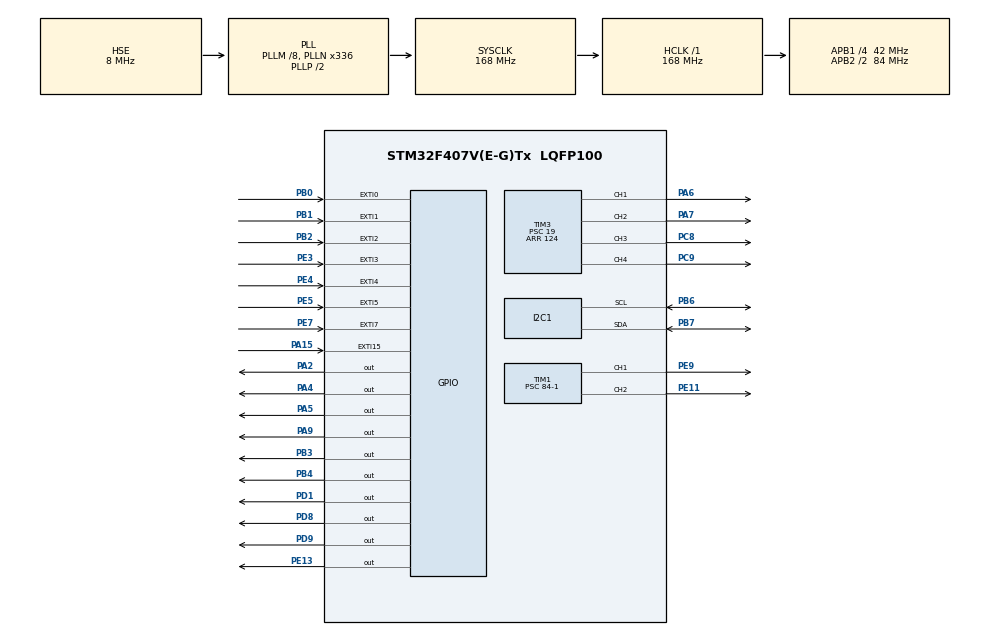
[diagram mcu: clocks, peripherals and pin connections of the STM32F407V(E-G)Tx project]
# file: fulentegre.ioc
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I2C1.OwnAddress=0x20
Mcu.Family=STM32F4
Mcu.Name=STM32F407V(E-G)Tx
Mcu.Package=LQFP100
NVIC.EXTI0_IRQn=true\:0\:0\:false\:false\:true\:true\:true\:true
NVIC.EXTI15_10_IRQn=true\:0\:0\:false\:false\:true\:true\:true\:true
NVIC.EXTI1_IRQn=true\:0\:0\:false\:false\:true\:true\:true\:true
NVIC.EXTI2_IRQn=true\:0\:0\:false\:false\:true\:true\:true\:true
NVIC.EXTI3_IRQn=true\:0\:0\:false\:false\:true\:true\:true\:true
NVIC.EXTI4_IRQn=true\:0\:0\:false\:false\:true\:true\:true\:true
NVIC.EXTI9_5_IRQn=true\:0\:0\:false\:false\:true\:true\:true\:true
NVIC.I2C1_ER_IRQn=true\:0\:0\:false\:false\:true\:true\:true\:true
NVIC.I2C1_EV_IRQn=true\:0\:0\:false\:false\:true\:true\:true\:true
NVIC.PriorityGroup=NVIC_PRIORITYGROUP_0
PA13.Mode=Serial_Wire
PA13.Signal=SYS_JTMS-SWDIO
PA14.Mode=Serial_Wire
PA14.Signal=SYS_JTCK-SWCLK
PA15.GPIO_ModeDefaultEXTI=GPIO_MODE_IT_RISING_FALLING
PA15.GPIO_PuPd=GPIO_PULLUP
PA15.Signal=GPXTI15
PA2.Signal=GPIO_Output
PA4.Signal=GPIO_Output
PA5.Signal=GPIO_Output
PA6.Signal=S_TIM3_CH1
PA7.Signal=S_TIM3_CH2
PA9.Signal=GPIO_Output
PB0.GPIO_ModeDefaultEXTI=GPIO_MODE_IT_RISING_FALLING
PB0.GPIO_PuPd=GPIO_PULLUP
PB0.Signal=GPXTI0
PB1.Signal=GPXTI1
PB2.GPIO_ModeDefaultEXTI=GPIO_MODE_IT_RISING_FALLING
PB2.GPIO_PuPd=GPIO_PULLUP
PB2.Signal=GPXTI2
PB3.Signal=GPIO_Output
PB4.Signal=GPIO_Output
PB6.Mode=I2C
PB6.Signal=I2C1_SCL
PB7.Mode=I2C
PB7.Signal=I2C1_SDA
PC8.Signal=S_TIM3_CH3
PC9.Signal=S_TIM3_CH4
PD1.Signal=GPIO_Output
PD8.Signal=GPIO_Output
PD9.Signal=GPIO_Output
PE11.Signal=S_TIM1_CH2
PE13.Signal=GPIO_Output
PE3.GPIO_ModeDefaultEXTI=GPIO_MODE_IT_RISING_FALLING
PE3.GPIO_PuPd=GPIO_NOPULL
PE3.Signal=GPXTI3
PE4.GPIO_ModeDefaultEXTI=GPIO_MODE_IT_RISING_FALLING
PE4.GPIO_PuPd=GPIO_PULLUP
PE4.Signal=GPXTI4
PE5.GPIO_ModeDefaultEXTI=GPIO_MODE_IT_RISING_FALLING
PE5.Signal=GPXTI5
PE7.GPIO_ModeDefaultEXTI=GPIO_MODE_IT_RISING_FALLING
PE7.Signal=GPXTI7
PE9.Signal=S_TIM1_CH1
PH0-OSC_IN.Mode=HSE-External-Oscillator
PH0-OSC_IN.Signal=RCC_OSC_IN
PH1-OSC_OUT.Mode=HSE-External-Oscillator
PH1-OSC_OUT.Signal=RCC_OSC_OUT
ProjectManager.HeapSize=0x200
ProjectManager.StackSize=0x400
ProjectManager.TargetToolchain=STM32CubeIDE
RCC.48MHZClocksFreq_Value=48000000
RCC.AHBFreq_Value=168000000
RCC.APB1CLKDivider=RCC_HCLK_DIV4
RCC.APB1Freq_Value=42000000
RCC.APB1TimFreq_Value=84000000
RCC.APB2CLKDivider=RCC_HCLK_DIV2
RCC.APB2Freq_Value=84000000
RCC.APB2TimFreq_Value=168000000
RCC.CortexFreq_Value=168000000
RCC.HCLKFreq_Value=168000000
RCC.HSE_VALUE=8000000
RCC.HSI_VALUE=16000000
RCC.LSE_VALUE=32768
RCC.PLLM=8
RCC.PLLN=336
RCC.PLLQ=7
RCC.PLLSourceVirtual=RCC_PLLSOURCE_HSE
RCC.SYSCLKFreq_VALUE=168000000
RCC.SYSCLKSource=RCC_SYSCLKSOURCE_PLLCLK
RCC.VCOOutputFreq_Value=336000000
SH.S_TIM1_CH1.0=TIM1_CH1,PWM Generation1 CH1
SH.S_TIM1_CH2.0=TIM1_CH2,PWM Generation2 CH2
SH.S_TIM3_CH1.0=TIM3_CH1,PWM Generation1 CH1
SH.S_TIM3_CH2.0=TIM3_CH2,PWM Generation2 CH2
SH.S_TIM3_CH3.0=TIM3_CH3,PWM Generation3 CH3
SH.S_TIM3_CH4.0=TIM3_CH4,PWM Generation4 CH4
TIM1.Channel-PWM\ Generation1\ CH1=TIM_CHANNEL_1
TIM1.Channel-PWM\ Generation2\ CH2=TIM_CHANNEL_2
TIM1.Period=85-1
TIM1.Prescaler=84-1
TIM2.Prescaler=83
TIM3.Channel-PWM\ Generation1\ CH1=TIM_CHANNEL_1
TIM3.Channel-PWM\ Generation2\ CH2=TIM_CHANNEL_2
TIM3.Channel-PWM\ Generation3\ CH3=TIM_CHANNEL_3
TIM3.Channel-PWM\ Generation4\ CH4=TIM_CHANNEL_4
TIM3.Period=124
TIM3.Prescaler=19
TIM4.Prescaler=41999
VP_TIM1_VS_ClockSourceINT.Mode=Internal
VP_TIM2_VS_ClockSourceINT.Mode=Internal
VP_TIM4_VS_ClockSourceINT.Mode=Internal
VP_TIM5_VS_ClockSourceINT.Mode=Internal
board=STM32F407G-DISC1

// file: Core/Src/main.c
/* USER CODE BEGIN Header */
/**
  ******************************************************************************
  * @file           : main.c
  * @brief          : Main program body
  ******************************************************************************
  * @attention
  *
  * Copyright (c) 2024 STMicroelectronics.
  * All rights reserved.
  *
  * This software is licensed under terms that can be found in the LICENSE file
  * in the root directory of this software component.
  * If no LICENSE file comes with this software, it is provided AS-IS.
  *
  ************************************************************************************
  */
/* USER CODE END Header */
#include "main.h"

I2C_HandleTypeDef hi2c1;

TIM_HandleTypeDef htim1;
TIM_HandleTypeDef htim2;
TIM_HandleTypeDef htim3;
TIM_HandleTypeDef htim4;
TIM_HandleTypeDef htim5;

void SystemClock_Config(void);
static void MX_GPIO_Init(void);
static void MX_TIM3_Init(void);
static void MX_TIM2_Init(void);
static void MX_TIM1_Init(void);
static void MX_TIM5_Init(void);
static void MX_TIM4_Init(void);
static void MX_I2C1_Init(void);

/* USER CODE BEGIN 0 */
uint8_t RX_Buffer [32] ;
uint8_t tour=0;
uint32_t Encoder=0;
uint32_t Brake=0;
uint32_t Drive=0;
// ENCODER
volatile int32_t encoder=0;
// direksiyon için kumanda sinyali değişkenleri extı_2
 volatile uint32_t starttime3=0;
 volatile uint32_t endtime3=0;
 volatile float pulsewidth3=0;
 volatile uint32_t count3=0;
 volatile uint32_t pulsewidth_prev=0;

 // proximity 1 extı3
 extern volatile uint32_t falling_detected2;
 // proximity2 extı5
 extern volatile uint16_t falling_detected;

 // TULPAR İÇİN KUMANDA DE�?İ�?KENLERİ
 extern volatile uint32_t starttime1;
 extern volatile uint32_t endtime1;
 extern volatile uint32_t pulsewidth1;
 extern volatile uint32_t count1;
 extern volatile int32_t dutycycle0;
 extern volatile int32_t dutycycle1;
 extern volatile int32_t dutycycle2;
 volatile uint32_t  dutycyclenew1=0;
 volatile uint32_t  dutycyclenew2=0;

 // FREN İÇİN KUMANDA SİNYALİ
 extern volatile uint32_t starttime;
 extern volatile uint32_t endtime;
 extern volatile uint32_t pulsewidth;
 extern volatile uint32_t count;
 extern volatile uint32_t command;
 extern volatile uint32_t signal;

 // pid kontrol değişkenleri
 volatile float ref_aci=0;
 volatile uint32_t t=0;
 volatile uint32_t t_prev=0;
 volatile float motoraci=0;
 volatile float aci1=0;
 volatile uint32_t aci1_prev=0;
 volatile int32_t dt=0;
 volatile int32_t error=0;
 volatile int32_t error_prev=0;
 volatile int32_t inte=0;
 volatile int32_t inte_prev=0;
 int32_t vmax=100;
 int32_t vmin=-100;
 volatile int32_t v=0;
 // tuning parametreleri
 float kp=0.2;
 float kd=0;
 float ki=0.1;
volatile uint32_t counter=0;
volatile uint32_t pompa=0;
uint32_t b=0;
 // BO�?
 volatile int AA=0;
 volatile uint32_t duty=0;
 volatile uint32_t BB=0;
 volatile uint32_t BA=0;
 volatile uint32_t motorhiz=0;

 volatile uint32_t periyot=0, periyot1=0, periyot2=0;
 int sınırpos = 5;
 int sınırneg = -5;
 uint32_t counnt=0,capture_value=0;
 float frequency=0,rpm=0;

 void motor_fonksiyonu()
 {
// 	if(dutycycle0<6298)
// 		{
// 			HAL_GPIO_WritePin(GPIOD, GPIO_PIN_9, ENABLE); //REWERSE
// 			HAL_GPIO_WritePin(GPIOD, GPIO_PIN_8, DISABLE);
// 			__HAL_TIM_SET_COMPARE(&htim3 ,TIM_CHANNEL_1, dutycyclenew1);
// 			counter++;
// 		}
//
// 	if(dutycycle0>6298)
// 		{
// 			HAL_GPIO_WritePin(GPIOD, GPIO_PIN_9, DISABLE); //FORWARD
// 			HAL_GPIO_WritePin(GPIOD, GPIO_PIN_8, ENABLE);
// 			__HAL_TIM_SET_COMPARE(&htim3,TIM_CHANNEL_1, dutycyclenew2);
// 			counter--;
// 		}
// 	if(dutycycle0==6298)
// 	{
// 		HAL_GPIO_WritePin(GPIOD, GPIO_PIN_9, DISABLE); //FORWARD
// 		 HAL_GPIO_WritePin(GPIOD, GPIO_PIN_8, DISABLE);
// 		__HAL_TIM_SET_COMPARE(&htim3,TIM_CHANNEL_1,dutycyclenew1);
//	}

	 if(dutycycle0>6298)
	  		{
	  			HAL_GPIO_WritePin(GPIOD, GPIO_PIN_9, DISABLE); //FORWARD
	  			HAL_GPIO_WritePin(GPIOD, GPIO_PIN_8, ENABLE);
	  			__HAL_TIM_SET_COMPARE(&htim3,TIM_CHANNEL_1, dutycyclenew2);
	  			//__HAL_TIM_SET_COMPARE(&htim3,TIM_CHANNEL_1, Drive);
	  			counter--;
	  		}
	  	else
	  	{
	  		__HAL_TIM_SET_COMPARE(&htim3,TIM_CHANNEL_1, 0);

	  	}
 }
 void motorfonksiyon_pid()
 {
	// direksiyon
// 	ref_aci=-((pulsewidth3-179000)/82)+10;
// 	aci1=encoder*0.12;
// 	motoraci=aci1+720;
// 	t=TIM2->CNT;
// 		  if(t<t_prev)
// 		  {
// 		 	  dt=(4294967295 - t_prev) + t + 1;
// 		  }
// 		 else
// 		  {
// 		 	  dt=t-t_prev;
// 		  }
//
//
// 	error=ref_aci-motoraci;// error hesabı
// 	inte=inte_prev+(dt*(error+error_prev)/2); // hatanın integrali
//
// 		 	// Hatayı sınırlıyoruz ki overflow olmasın
// 		  if (dt != 0)
// 		  {
// 		 	   int32_t max_inte=200;
// 		 	  int32_t min_inte=-200;
//
// 		 	  if(inte>max_inte)
// 		 	  {
// 		 		  inte=max_inte;
//
// 		 	  }
// 		 	  else if(inte<min_inte)
// 		 	  {
// 		 		  inte=min_inte;
//
// 		 	  }
// 		 	}
//
//
//
// 		 	v=(kp*error)+(ki*inte)+(kd*((error-error_prev)/dt)); //PID den çıkan sinyal
//
// 		 	if(v>vmax)
// 		 	{
// 		 		v=vmax;
// 	//	 		inte=inte_prev;
// 		 	}
// 		 	if(v<vmin)
// 		 	{
// 		 		v=vmin;
// 		 	//	inte=inte_prev;
//
// 		 	}
//
// 	 duty=(200*abs(v)/vmax);
// 	if(duty>200)
// 	{
//
// 		duty=200;
// 	}
// 	if(v<0)
// 	{
// 		// sağa dönüş
// 		__HAL_TIM_SET_COMPARE(&htim3,TIM_CHANNEL_3,duty);
// 		__HAL_TIM_SET_COMPARE(&htim3,TIM_CHANNEL_4,0);
//BB=__HAL_TIM_GET_COMPARE(&htim3,TIM_CHANNEL_3);
//BA=__HAL_TIM_GET_COMPARE(&htim3,TIM_CHANNEL_4);
// 	}
// 	else if(v>0)
// 	{
// 		//sola dönüş
// 		__HAL_TIM_SET_COMPARE(&htim3,TIM_CHANNEL_3,0);
// 		__HAL_TIM_SET_COMPARE(&htim3,TIM_CHANNEL_4,duty);
// 		BB=__HAL_TIM_GET_COMPARE(&htim3,TIM_CHANNEL_3);
// 		BA=__HAL_TIM_GET_COMPARE(&htim3,TIM_CHANNEL_4);
//
// 	}
// 	else
// 	{
// 		__HAL_TIM_SET_COMPARE(&htim3,TIM_CHANNEL_3,0);
// 		__HAL_TIM_SET_COMPARE(&htim3,TIM_CHANNEL_4,0);
// 		BB=__HAL_TIM_GET_COMPARE(&htim3,TIM_CHANNEL_3);
// 		BA=__HAL_TIM_GET_COMPARE(&htim3,TIM_CHANNEL_4);
//
// 	}
// 	if(v==50)
// 	 	{
// 	 		periyot1=TIM4->CNT;
//
// 	 	}
// 	else if(v==-50)
// 	{
//
// 		periyot2=TIM4->CNT;
//
// 	}
// 	periyot=(periyot2-periyot1)/2000;
// 	t_prev=t;
// 	inte_prev=inte;
// 	error_prev=error;
//
// 	HAL_Delay(10);

	 	ref_aci=-((pulsewidth3-84000)/69.3)+1333;
		aci1=encoder*0.12;
		motoraci=aci1+720;
		error=ref_aci-motoraci;// error hesabı
		//error=Encoder-motoraci;
		if(error>sınırpos)
		{
			__HAL_TIM_SET_COMPARE(&htim3,TIM_CHANNEL_3,0);
			__HAL_TIM_SET_COMPARE(&htim3,TIM_CHANNEL_4,60);
			sınırpos = 5;
			sınırneg = -5;

		}
		else if(error<sınırneg)
		{

			__HAL_TIM_SET_COMPARE(&htim3,TIM_CHANNEL_3,60);
			__HAL_TIM_SET_COMPARE(&htim3,TIM_CHANNEL_4,0);
			sınırpos = 5;
			sınırneg = -5;
		}
		else
		{
			sınırneg = -10;
			sınırpos = 10;
			__HAL_TIM_SET_COMPARE(&htim3,TIM_CHANNEL_3,0);
			__HAL_TIM_SET_COMPARE(&htim3,TIM_CHANNEL_4,0);
		}

 }
// int _write(int file ,char *ptr,int len )
// {
//
//	 int i=0;
//	 for(i=0;i<len;i++)
//		 ITM_SendChar((*ptr++));
//	 return len;
// }

/* USER CODE END 0 */

int main(void)
{

  /* MCU Configuration--------------------------------------------------------*/

  /* Reset of all peripherals, Initializes the Flash interface and the Systick. */
  HAL_Init();

  /* Configure the system clock */
  SystemClock_Config();

  /* Initialize all configured peripherals */
  MX_GPIO_Init();
  MX_TIM3_Init();
  MX_TIM2_Init();
  MX_TIM1_Init();
  MX_TIM5_Init();
  MX_TIM4_Init();
  MX_I2C1_Init();
  /* USER CODE BEGIN 2 */
  HAL_TIM_Base_Start(&htim2);
  HAL_TIM_Base_Start(&htim5);
  HAL_TIM_Base_Start(&htim4);
  HAL_TIM_PWM_Start(&htim1, TIM_CHANNEL_1);// FREN MOTORU PWM
  HAL_TIM_PWM_Start(&htim1, TIM_CHANNEL_2);// FREN MOTORU PWM
  HAL_TIM_PWM_Start(&htim3, TIM_CHANNEL_1);// TULPAR PWM
  HAL_TIM_PWM_Start(&htim3, TIM_CHANNEL_2);// DİREKSİYON PWM
  HAL_TIM_PWM_Start(&htim3, TIM_CHANNEL_4);// DİREKSİYON  MOTORU LEFT PWM(YENİ)
  HAL_TIM_PWM_Start(&htim3, TIM_CHANNEL_3);// DİREKSİYON PWM
  HAL_GPIO_WritePin(GPIOB, GPIO_PIN_4,ENABLE);// FREN RIGHT ENABLE
  HAL_GPIO_WritePin(GPIOB, GPIO_PIN_3,ENABLE);// FREN LEFT ENABLE
  HAL_GPIO_WritePin(GPIOD, GPIO_PIN_8,DISABLE);// TULPAR FORWARD ENABLE
  HAL_GPIO_WritePin(GPIOD, GPIO_PIN_9,DISABLE);// TULPAR REVERSE ENABLE
  HAL_GPIO_WritePin(GPIOA, GPIO_PIN_4, ENABLE); //DİREKSİYON RİGHT ENABLE
  HAL_GPIO_WritePin(GPIOA, GPIO_PIN_2, ENABLE);
  HAL_GPIO_WritePin(GPIOA, GPIO_PIN_5,ENABLE);// DİREKSİYON LEFT ENABLE
  HAL_GPIO_WritePin(GPIOE, GPIO_PIN_13,ENABLE);
  HAL_GPIO_WritePin(GPIOD, GPIO_PIN_1,DISABLE);

  // KALDIRILABİLİR ALTTAKİ KISIM
//  HAL_GPIO_WritePin(GPIOA, GPIO_PIN_9,ENABLE);
// HAL_Delay(3000);
//  HAL_GPIO_WritePin(GPIOA, GPIO_PIN_9,DISABLE);

  /* USER CODE END 2 */

  /* Infinite loop */
  while (1)
  {

    /* USER CODE BEGIN 3 */
	  /* USER CODE END WHILE */

	      /* USER CODE BEGIN 3 */

	  HAL_I2C_Slave_Receive_IT(&hi2c1, (uint8_t *)RX_Buffer, 32);
	  if (HAL_I2C_Slave_Receive_IT(&hi2c1, (uint8_t *)RX_Buffer, 32) == HAL_OK)
		{
			tour++;
		}
	  Encoder = RX_Buffer[1]+RX_Buffer[2]+RX_Buffer[3]+RX_Buffer[4]+RX_Buffer[5];
	  Brake = RX_Buffer[6];
	  Drive = RX_Buffer[7];

	  counnt++;
	  	  if(counnt>2000000)
	  	  {
	  	  	rpm=0;

	  	  }

b++;

	  		motor_fonksiyonu();
	  		motorfonksiyon_pid();
	  		AA=__HAL_TIM_GET_COMPARE(&htim3,TIM_CHANNEL_1);

	  		//if(Brake == 1)
	  if(signal == 1){
			if(falling_detected2==1){
			  		while(1){

			  			__HAL_TIM_SET_COMPARE(&htim1, TIM_CHANNEL_1, 0);
			  			__HAL_TIM_SET_COMPARE(&htim1, TIM_CHANNEL_2, 0);
			  			motor_fonksiyonu();
			  			motorfonksiyon_pid();
			  			AA=__HAL_TIM_GET_COMPARE(&htim3,TIM_CHANNEL_1);

			  			//if(Brake != 1||falling_detected2==0)
			  			if(signal != 1||falling_detected2==0){
			  				break;
			  				AA=__HAL_TIM_GET_COMPARE(&htim3,TIM_CHANNEL_1);
			  			}
			  		}
			  	}
	  	__HAL_TIM_SET_COMPARE(&htim1, TIM_CHANNEL_1, 0); //holding the  motor
	  	__HAL_TIM_SET_COMPARE(&htim1, TIM_CHANNEL_2, 85);
	  	motor_fonksiyonu();
	  	motorfonksiyon_pid();
	  	AA=__HAL_TIM_GET_COMPARE(&htim3,TIM_CHANNEL_1);

//	  	if(falling_detected2==0)
//	  	{
//
//	  		motor_fonksiyonu();
//	  		motorfonksiyon_pid();
//
//	  		AA=__HAL_TIM_GET_COMPARE(&htim3,TIM_CHANNEL_1);
//	  	}
	  }
//	  if(Brake == 0)
	  if(signal == 0){
			if(falling_detected==1){
			  		while(1){
			  			__HAL_TIM_SET_COMPARE(&htim1, TIM_CHANNEL_1, 0);
			  			__HAL_TIM_SET_COMPARE(&htim1, TIM_CHANNEL_2, 0);
			  			motor_fonksiyonu();
			  			motorfonksiyon_pid();
			  			AA=__HAL_TIM_GET_COMPARE(&htim3,TIM_CHANNEL_1);

			  			//if(Brake != 0||falling_detected==0)
			  			if(signal != 0||falling_detected==0){
			  				pompa=0;
			  				break;
			  			}
			  		}
			  	}
	  	__HAL_TIM_SET_COMPARE(&htim1, TIM_CHANNEL_1, 60); //holding the  motor
	  	__HAL_TIM_SET_COMPARE(&htim1, TIM_CHANNEL_2, 0);
	  	motor_fonksiyonu();
	  	motorfonksiyon_pid();
	  	AA=__HAL_TIM_GET_COMPARE(&htim3,TIM_CHANNEL_1);

//	  	if(falling_detected==0)
//	  		{
//	  			motor_fonksiyonu();
//	  			AA=__HAL_TIM_GET_COMPARE(&htim3,TIM_CHANNEL_1);
//	  			motorfonksiyon_pid();
//
//	  		}
	  }

  }
  /* USER CODE END 3 */
}

void SystemClock_Config(void)
{
  RCC_OscInitTypeDef RCC_OscInitStruct = {0};
  RCC_ClkInitTypeDef RCC_ClkInitStruct = {0};

  /** Configure the main internal regulator output voltage
  */
  __HAL_RCC_PWR_CLK_ENABLE();
  __HAL_PWR_VOLTAGESCALING_CONFIG(PWR_REGULATOR_VOLTAGE_SCALE1);

  /** Initializes the RCC Oscillators according to the specified parameters
  * in the RCC_OscInitTypeDef structure.
  */
  RCC_OscInitStruct.OscillatorType = RCC_OSCILLATORTYPE_HSE;
  RCC_OscInitStruct.HSEState = RCC_HSE_ON;
  RCC_OscInitStruct.PLL.PLLState = RCC_PLL_ON;
  RCC_OscInitStruct.PLL.PLLSource = RCC_PLLSOURCE_HSE;
  RCC_OscInitStruct.PLL.PLLM = 8;
  RCC_OscInitStruct.PLL.PLLN = 336;
  RCC_OscInitStruct.PLL.PLLP = RCC_PLLP_DIV2;
  RCC_OscInitStruct.PLL.PLLQ = 7;
  if (HAL_RCC_OscConfig(&RCC_OscInitStruct) != HAL_OK)
  {
    Error_Handler();
  }

  /** Initializes the CPU, AHB and APB buses clocks
  */
  RCC_ClkInitStruct.ClockType = RCC_CLOCKTYPE_HCLK|RCC_CLOCKTYPE_SYSCLK
                              |RCC_CLOCKTYPE_PCLK1|RCC_CLOCKTYPE_PCLK2;
  RCC_ClkInitStruct.SYSCLKSource = RCC_SYSCLKSOURCE_PLLCLK;
  RCC_ClkInitStruct.AHBCLKDivider = RCC_SYSCLK_DIV1;
  RCC_ClkInitStruct.APB1CLKDivider = RCC_HCLK_DIV4;
  RCC_ClkInitStruct.APB2CLKDivider = RCC_HCLK_DIV2;

  if (HAL_RCC_ClockConfig(&RCC_ClkInitStruct, FLASH_LATENCY_5) != HAL_OK)
  {
    Error_Handler();
  }
}

static void MX_I2C1_Init(void)
{

  hi2c1.Instance = I2C1;
  hi2c1.Init.ClockSpeed = 100000;
  hi2c1.Init.DutyCycle = I2C_DUTYCYCLE_2;
  hi2c1.Init.OwnAddress1 = 64;
  hi2c1.Init.AddressingMode = I2C_ADDRESSINGMODE_7BIT;
  hi2c1.Init.DualAddressMode = I2C_DUALADDRESS_DISABLE;
  hi2c1.Init.OwnAddress2 = 0;
  hi2c1.Init.GeneralCallMode = I2C_GENERALCALL_DISABLE;
  hi2c1.Init.NoStretchMode = I2C_NOSTRETCH_DISABLE;
  if (HAL_I2C_Init(&hi2c1) != HAL_OK)
  {
    Error_Handler();
  }

}

static void MX_TIM1_Init(void)
{

  TIM_ClockConfigTypeDef sClockSourceConfig = {0};
  TIM_MasterConfigTypeDef sMasterConfig = {0};
  TIM_OC_InitTypeDef sConfigOC = {0};
  TIM_BreakDeadTimeConfigTypeDef sBreakDeadTimeConfig = {0};

  htim1.Instance = TIM1;
  htim1.Init.Prescaler = 84-1;
  htim1.Init.CounterMode = TIM_COUNTERMODE_UP;
  htim1.Init.Period = 85-1;
  htim1.Init.ClockDivision = TIM_CLOCKDIVISION_DIV1;
  htim1.Init.RepetitionCounter = 0;
  htim1.Init.AutoReloadPreload = TIM_AUTORELOAD_PRELOAD_DISABLE;
  if (HAL_TIM_Base_Init(&htim1) != HAL_OK)
  {
    Error_Handler();
  }
  sClockSourceConfig.ClockSource = TIM_CLOCKSOURCE_INTERNAL;
  if (HAL_TIM_ConfigClockSource(&htim1, &sClockSourceConfig) != HAL_OK)
  {
    Error_Handler();
  }
  if (HAL_TIM_PWM_Init(&htim1) != HAL_OK)
  {
    Error_Handler();
  }
  sMasterConfig.MasterOutputTrigger = TIM_TRGO_RESET;
  sMasterConfig.MasterSlaveMode = TIM_MASTERSLAVEMODE_DISABLE;
  if (HAL_TIMEx_MasterConfigSynchronization(&htim1, &sMasterConfig) != HAL_OK)
  {
    Error_Handler();
  }
  sConfigOC.OCMode = TIM_OCMODE_PWM1;
  sConfigOC.Pulse = 0;
  sConfigOC.OCPolarity = TIM_OCPOLARITY_HIGH;
  sConfigOC.OCNPolarity = TIM_OCNPOLARITY_HIGH;
  sConfigOC.OCFastMode = TIM_OCFAST_DISABLE;
  sConfigOC.OCIdleState = TIM_OCIDLESTATE_RESET;
  sConfigOC.OCNIdleState = TIM_OCNIDLESTATE_RESET;
  if (HAL_TIM_PWM_ConfigChannel(&htim1, &sConfigOC, TIM_CHANNEL_1) != HAL_OK)
  {
    Error_Handler();
  }
  if (HAL_TIM_PWM_ConfigChannel(&htim1, &sConfigOC, TIM_CHANNEL_2) != HAL_OK)
  {
    Error_Handler();
  }
  sBreakDeadTimeConfig.OffStateRunMode = TIM_OSSR_DISABLE;
  sBreakDeadTimeConfig.OffStateIDLEMode = TIM_OSSI_DISABLE;
  sBreakDeadTimeConfig.LockLevel = TIM_LOCKLEVEL_OFF;
  sBreakDeadTimeConfig.DeadTime = 0;
  sBreakDeadTimeConfig.BreakState = TIM_BREAK_DISABLE;
  sBreakDeadTimeConfig.BreakPolarity = TIM_BREAKPOLARITY_HIGH;
  sBreakDeadTimeConfig.AutomaticOutput = TIM_AUTOMATICOUTPUT_DISABLE;
  if (HAL_TIMEx_ConfigBreakDeadTime(&htim1, &sBreakDeadTimeConfig) != HAL_OK)
  {
    Error_Handler();
  }
  HAL_TIM_MspPostInit(&htim1);

}

static void MX_TIM2_Init(void)
{

  TIM_ClockConfigTypeDef sClockSourceConfig = {0};
  TIM_MasterConfigTypeDef sMasterConfig = {0};

  htim2.Instance = TIM2;
  htim2.Init.Prescaler = 83;
  htim2.Init.CounterMode = TIM_COUNTERMODE_UP;
  htim2.Init.Period = 4294967295;
  htim2.Init.ClockDivision = TIM_CLOCKDIVISION_DIV1;
  htim2.Init.AutoReloadPreload = TIM_AUTORELOAD_PRELOAD_DISABLE;
  if (HAL_TIM_Base_Init(&htim2) != HAL_OK)
  {
    Error_Handler();
  }
  sClockSourceConfig.ClockSource = TIM_CLOCKSOURCE_INTERNAL;
  if (HAL_TIM_ConfigClockSource(&htim2, &sClockSourceConfig) != HAL_OK)
  {
    Error_Handler();
  }
  sMasterConfig.MasterOutputTrigger = TIM_TRGO_RESET;
  sMasterConfig.MasterSlaveMode = TIM_MASTERSLAVEMODE_DISABLE;
  if (HAL_TIMEx_MasterConfigSynchronization(&htim2, &sMasterConfig) != HAL_OK)
  {
    Error_Handler();
  }

}

static void MX_TIM3_Init(void)
{

  TIM_MasterConfigTypeDef sMasterConfig = {0};
  TIM_OC_InitTypeDef sConfigOC = {0};

  htim3.Instance = TIM3;
  htim3.Init.Prescaler = 19;
  htim3.Init.CounterMode = TIM_COUNTERMODE_UP;
  htim3.Init.Period = 124;
  htim3.Init.ClockDivision = TIM_CLOCKDIVISION_DIV1;
  htim3.Init.AutoReloadPreload = TIM_AUTORELOAD_PRELOAD_DISABLE;
  if (HAL_TIM_PWM_Init(&htim3) != HAL_OK)
  {
    Error_Handler();
  }
  sMasterConfig.MasterOutputTrigger = TIM_TRGO_RESET;
  sMasterConfig.MasterSlaveMode = TIM_MASTERSLAVEMODE_DISABLE;
  if (HAL_TIMEx_MasterConfigSynchronization(&htim3, &sMasterConfig) != HAL_OK)
  {
    Error_Handler();
  }
  sConfigOC.OCMode = TIM_OCMODE_PWM1;
  sConfigOC.Pulse = 0;
  sConfigOC.OCPolarity = TIM_OCPOLARITY_HIGH;
  sConfigOC.OCFastMode = TIM_OCFAST_DISABLE;
  if (HAL_TIM_PWM_ConfigChannel(&htim3, &sConfigOC, TIM_CHANNEL_1) != HAL_OK)
  {
    Error_Handler();
  }
  if (HAL_TIM_PWM_ConfigChannel(&htim3, &sConfigOC, TIM_CHANNEL_2) != HAL_OK)
  {
    Error_Handler();
  }
  if (HAL_TIM_PWM_ConfigChannel(&htim3, &sConfigOC, TIM_CHANNEL_3) != HAL_OK)
  {
    Error_Handler();
  }
  if (HAL_TIM_PWM_ConfigChannel(&htim3, &sConfigOC, TIM_CHANNEL_4) != HAL_OK)
  {
    Error_Handler();
  }
  HAL_TIM_MspPostInit(&htim3);

}

static void MX_TIM4_Init(void)
{

  TIM_ClockConfigTypeDef sClockSourceConfig = {0};
  TIM_MasterConfigTypeDef sMasterConfig = {0};

  htim4.Instance = TIM4;
  htim4.Init.Prescaler = 41999;
  htim4.Init.CounterMode = TIM_COUNTERMODE_UP;
  htim4.Init.Period = 65535;
  htim4.Init.ClockDivision = TIM_CLOCKDIVISION_DIV1;
  htim4.Init.AutoReloadPreload = TIM_AUTORELOAD_PRELOAD_DISABLE;
  if (HAL_TIM_Base_Init(&htim4) != HAL_OK)
  {
    Error_Handler();
  }
  sClockSourceConfig.ClockSource = TIM_CLOCKSOURCE_INTERNAL;
  if (HAL_TIM_ConfigClockSource(&htim4, &sClockSourceConfig) != HAL_OK)
  {
    Error_Handler();
  }
  sMasterConfig.MasterOutputTrigger = TIM_TRGO_RESET;
  sMasterConfig.MasterSlaveMode = TIM_MASTERSLAVEMODE_DISABLE;
  if (HAL_TIMEx_MasterConfigSynchronization(&htim4, &sMasterConfig) != HAL_OK)
  {
    Error_Handler();
  }

}

static void MX_TIM5_Init(void)
{

  TIM_ClockConfigTypeDef sClockSourceConfig = {0};
  TIM_MasterConfigTypeDef sMasterConfig = {0};

  htim5.Instance = TIM5;
  htim5.Init.Prescaler = 0;
  htim5.Init.CounterMode = TIM_COUNTERMODE_UP;
  htim5.Init.Period = 4294967295;
  htim5.Init.ClockDivision = TIM_CLOCKDIVISION_DIV1;
  htim5.Init.AutoReloadPreload = TIM_AUTORELOAD_PRELOAD_DISABLE;
  if (HAL_TIM_Base_Init(&htim5) != HAL_OK)
  {
    Error_Handler();
  }
  sClockSourceConfig.ClockSource = TIM_CLOCKSOURCE_INTERNAL;
  if (HAL_TIM_ConfigClockSource(&htim5, &sClockSourceConfig) != HAL_OK)
  {
    Error_Handler();
  }
  sMasterConfig.MasterOutputTrigger = TIM_TRGO_RESET;
  sMasterConfig.MasterSlaveMode = TIM_MASTERSLAVEMODE_DISABLE;
  if (HAL_TIMEx_MasterConfigSynchronization(&htim5, &sMasterConfig) != HAL_OK)
  {
    Error_Handler();
  }

}

static void MX_GPIO_Init(void)
{
  GPIO_InitTypeDef GPIO_InitStruct = {0};

  /* GPIO Ports Clock Enable */
  __HAL_RCC_GPIOE_CLK_ENABLE();
  __HAL_RCC_GPIOH_CLK_ENABLE();
  __HAL_RCC_GPIOA_CLK_ENABLE();
  __HAL_RCC_GPIOB_CLK_ENABLE();
  __HAL_RCC_GPIOD_CLK_ENABLE();
  __HAL_RCC_GPIOC_CLK_ENABLE();

  /*Configure GPIO pin Output Level */
  HAL_GPIO_WritePin(GPIOA, GPIO_PIN_2|GPIO_PIN_4|GPIO_PIN_5|GPIO_PIN_9, GPIO_PIN_RESET);

  /*Configure GPIO pin Output Level */
  HAL_GPIO_WritePin(GPIOE, GPIO_PIN_13, GPIO_PIN_RESET);

  /*Configure GPIO pin Output Level */
  HAL_GPIO_WritePin(GPIOD, GPIO_PIN_8|GPIO_PIN_9|GPIO_PIN_1, GPIO_PIN_RESET);

  /*Configure GPIO pin Output Level */
  HAL_GPIO_WritePin(GPIOB, GPIO_PIN_3|GPIO_PIN_4, GPIO_PIN_RESET);

  /*Configure GPIO pins : PE3 PE5 PE7 */
  GPIO_InitStruct.Pin = GPIO_PIN_3|GPIO_PIN_5|GPIO_PIN_7;
  GPIO_InitStruct.Mode = GPIO_MODE_IT_RISING_FALLING;
  GPIO_InitStruct.Pull = GPIO_NOPULL;
  HAL_GPIO_Init(GPIOE, &GPIO_InitStruct);

  /*Configure GPIO pin : PE4 */
  GPIO_InitStruct.Pin = GPIO_PIN_4;
  GPIO_InitStruct.Mode = GPIO_MODE_IT_RISING_FALLING;
  GPIO_InitStruct.Pull = GPIO_PULLUP;
  HAL_GPIO_Init(GPIOE, &GPIO_InitStruct);

  /*Configure GPIO pins : PA2 PA4 PA5 PA9 */
  GPIO_InitStruct.Pin = GPIO_PIN_2|GPIO_PIN_4|GPIO_PIN_5|GPIO_PIN_9;
  GPIO_InitStruct.Mode = GPIO_MODE_OUTPUT_PP;
  GPIO_InitStruct.Pull = GPIO_NOPULL;
  GPIO_InitStruct.Speed = GPIO_SPEED_FREQ_LOW;
  HAL_GPIO_Init(GPIOA, &GPIO_InitStruct);

  /*Configure GPIO pins : PB0 PB2 */
  GPIO_InitStruct.Pin = GPIO_PIN_0|GPIO_PIN_2;
  GPIO_InitStruct.Mode = GPIO_MODE_IT_RISING_FALLING;
  GPIO_InitStruct.Pull = GPIO_PULLUP;
  HAL_GPIO_Init(GPIOB, &GPIO_InitStruct);

  /*Configure GPIO pin : PB1 */
  GPIO_InitStruct.Pin = GPIO_PIN_1;
  GPIO_InitStruct.Mode = GPIO_MODE_IT_RISING;
  GPIO_InitStruct.Pull = GPIO_NOPULL;
  HAL_GPIO_Init(GPIOB, &GPIO_InitStruct);

  /*Configure GPIO pin : PE13 */
  GPIO_InitStruct.Pin = GPIO_PIN_13;
  GPIO_InitStruct.Mode = GPIO_MODE_OUTPUT_PP;
  GPIO_InitStruct.Pull = GPIO_NOPULL;
  GPIO_InitStruct.Speed = GPIO_SPEED_FREQ_LOW;
  HAL_GPIO_Init(GPIOE, &GPIO_InitStruct);

  /*Configure GPIO pins : PD8 PD9 PD1 */
  GPIO_InitStruct.Pin = GPIO_PIN_8|GPIO_PIN_9|GPIO_PIN_1;
  GPIO_InitStruct.Mode = GPIO_MODE_OUTPUT_PP;
  GPIO_InitStruct.Pull = GPIO_NOPULL;
  GPIO_InitStruct.Speed = GPIO_SPEED_FREQ_LOW;
  HAL_GPIO_Init(GPIOD, &GPIO_InitStruct);

  /*Configure GPIO pin : PA15 */
  GPIO_InitStruct.Pin = GPIO_PIN_15;
  GPIO_InitStruct.Mode = GPIO_MODE_IT_RISING_FALLING;
  GPIO_InitStruct.Pull = GPIO_PULLUP;
  HAL_GPIO_Init(GPIOA, &GPIO_InitStruct);

  /*Configure GPIO pins : PB3 PB4 */
  GPIO_InitStruct.Pin = GPIO_PIN_3|GPIO_PIN_4;
  GPIO_InitStruct.Mode = GPIO_MODE_OUTPUT_PP;
  GPIO_InitStruct.Pull = GPIO_NOPULL;
  GPIO_InitStruct.Speed = GPIO_SPEED_FREQ_LOW;
  HAL_GPIO_Init(GPIOB, &GPIO_InitStruct);

  /* EXTI interrupt init*/
  HAL_NVIC_SetPriority(EXTI0_IRQn, 0, 0);
  HAL_NVIC_EnableIRQ(EXTI0_IRQn);

  HAL_NVIC_SetPriority(EXTI1_IRQn, 0, 0);
  HAL_NVIC_EnableIRQ(EXTI1_IRQn);

  HAL_NVIC_SetPriority(EXTI2_IRQn, 0, 0);
  HAL_NVIC_EnableIRQ(EXTI2_IRQn);

  HAL_NVIC_SetPriority(EXTI3_IRQn, 0, 0);
  HAL_NVIC_EnableIRQ(EXTI3_IRQn);

  HAL_NVIC_SetPriority(EXTI4_IRQn, 0, 0);
  HAL_NVIC_EnableIRQ(EXTI4_IRQn);

  HAL_NVIC_SetPriority(EXTI9_5_IRQn, 0, 0);
  HAL_NVIC_EnableIRQ(EXTI9_5_IRQn);

  HAL_NVIC_SetPriority(EXTI15_10_IRQn, 0, 0);
  HAL_NVIC_EnableIRQ(EXTI15_10_IRQn);

}

void Error_Handler(void)
{
  __disable_irq();
  while (1)
  {
  }
}
